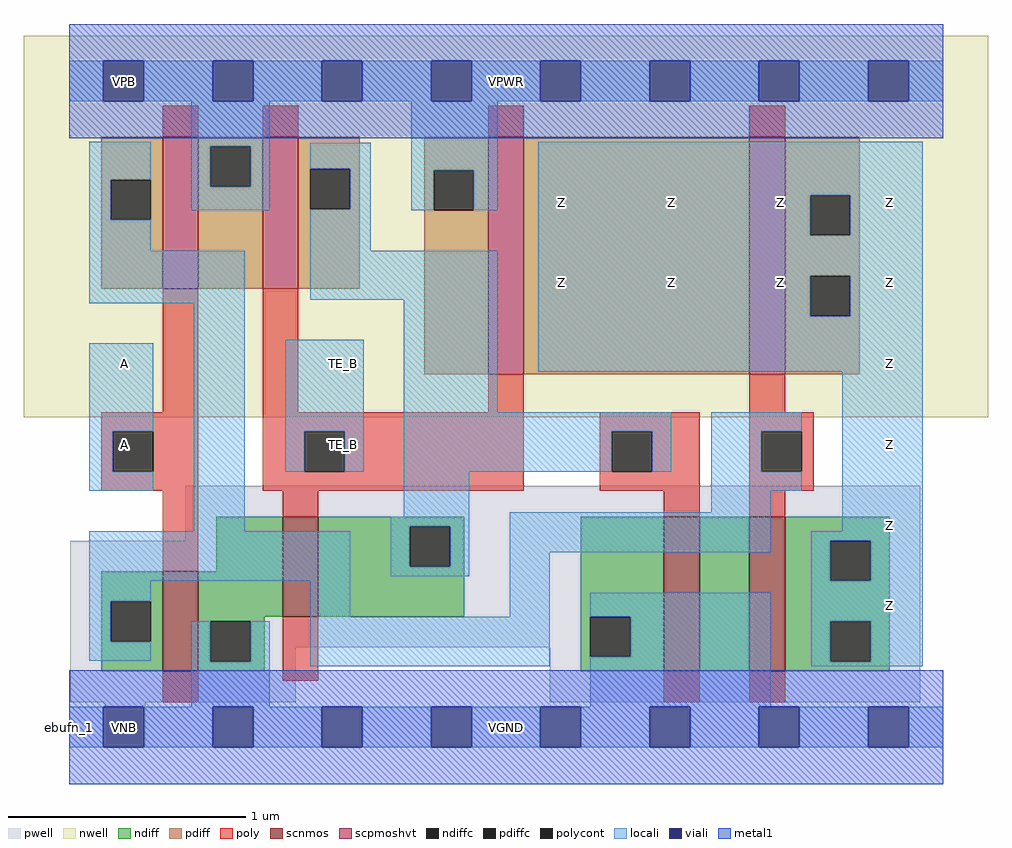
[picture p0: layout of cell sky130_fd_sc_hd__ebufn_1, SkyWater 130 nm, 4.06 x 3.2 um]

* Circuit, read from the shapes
.subckt sky130_fd_sc_hd__ebufn_1 A TE_B VGND VNB VPB VPWR Z
XM1 VGND A n1 VNB sky130_fd_pr__nfet_01v8 w=0.42 l=0.15
XM2 n2 TE_B VGND VNB sky130_fd_pr__nfet_01v8 w=0.42 l=0.15
XM3 n3 n2 VGND VNB sky130_fd_pr__nfet_01v8 w=0.65 l=0.15
XM4 Z n1 n3 VNB sky130_fd_pr__nfet_01v8 w=0.65 l=0.15
XM5 VPWR A n1 VPB sky130_fd_pr__pfet_01v8_hvt w=0.64 l=0.15
XM6 n2 TE_B VPWR VPB sky130_fd_pr__pfet_01v8_hvt w=0.64 l=0.15
XM7 n4 TE_B VPWR VPB sky130_fd_pr__pfet_01v8_hvt w=1 l=0.15
XM8 Z n1 n4 VPB sky130_fd_pr__pfet_01v8_hvt w=1 l=0.15
.ends

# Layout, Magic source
magic
tech sky130A
magscale 1 2
<< nwell >>
rect -38 261 774 582
<< pwell >>
rect 98 157 717 203
rect 1 67 717 157
rect 1 21 191 67
rect 405 21 717 67
rect 30 -17 64 21
<< scnmos >>
rect 79 47 109 131
rect 180 93 210 177
rect 501 47 531 177
rect 573 47 603 177
<< scpmoshvt >>
rect 79 369 109 497
rect 163 369 193 497
rect 353 297 383 497
rect 573 297 603 497
<< ndiff >>
rect 124 131 180 177
rect 27 106 79 131
rect 27 72 35 106
rect 69 72 79 106
rect 27 47 79 72
rect 109 93 180 131
rect 210 169 333 177
rect 210 135 287 169
rect 321 135 333 169
rect 210 93 333 135
rect 431 93 501 177
rect 109 89 165 93
rect 109 55 119 89
rect 153 55 165 89
rect 109 47 165 55
rect 431 59 439 93
rect 473 59 501 93
rect 431 47 501 59
rect 531 47 573 177
rect 603 157 691 177
rect 603 123 641 157
rect 675 123 691 157
rect 603 89 691 123
rect 603 55 641 89
rect 675 55 691 89
rect 603 47 691 55
<< pdiff >>
rect 27 461 79 497
rect 27 427 35 461
rect 69 427 79 461
rect 27 369 79 427
rect 109 489 163 497
rect 109 455 119 489
rect 153 455 163 489
rect 109 369 163 455
rect 193 470 245 497
rect 193 436 203 470
rect 237 436 245 470
rect 193 369 245 436
rect 299 469 353 497
rect 299 435 307 469
rect 341 435 353 469
rect 299 297 353 435
rect 383 297 573 497
rect 603 448 666 497
rect 603 414 624 448
rect 658 414 666 448
rect 603 380 666 414
rect 603 346 624 380
rect 658 346 666 380
rect 603 297 666 346
<< ndiffc >>
rect 35 72 69 106
rect 287 135 321 169
rect 119 55 153 89
rect 439 59 473 93
rect 641 123 675 157
rect 641 55 675 89
<< pdiffc >>
rect 35 427 69 461
rect 119 455 153 489
rect 203 436 237 470
rect 307 435 341 469
rect 624 414 658 448
rect 624 346 658 380
<< poly >>
rect 79 497 109 523
rect 163 497 193 523
rect 353 497 383 523
rect 573 497 603 523
rect 79 265 109 369
rect 27 249 109 265
rect 27 215 37 249
rect 71 215 109 249
rect 27 199 109 215
rect 163 265 193 369
rect 353 265 383 297
rect 573 265 603 297
rect 163 249 383 265
rect 163 215 198 249
rect 232 215 383 249
rect 163 199 383 215
rect 447 249 531 265
rect 447 215 457 249
rect 491 215 531 249
rect 447 199 531 215
rect 79 131 109 199
rect 180 177 210 199
rect 501 177 531 199
rect 573 249 627 265
rect 573 215 583 249
rect 617 215 627 249
rect 573 199 627 215
rect 573 177 603 199
rect 79 21 109 47
rect 180 39 210 93
rect 501 21 531 47
rect 573 21 603 47
<< polycont >>
rect 37 215 71 249
rect 198 215 232 249
rect 457 215 491 249
rect 583 215 617 249
<< locali >>
rect 0 527 29 561
rect 63 527 121 561
rect 155 527 213 561
rect 247 527 305 561
rect 339 527 397 561
rect 431 527 489 561
rect 523 527 581 561
rect 615 527 673 561
rect 707 527 736 561
rect 17 461 69 493
rect 17 427 35 461
rect 103 489 169 527
rect 103 455 119 489
rect 153 455 169 489
rect 103 435 169 455
rect 203 470 254 492
rect 237 436 254 470
rect 17 401 69 427
rect 203 401 254 436
rect 288 469 361 527
rect 288 435 307 469
rect 341 435 361 469
rect 395 448 719 493
rect 395 414 624 448
rect 658 414 719 448
rect 17 357 148 401
rect 203 360 361 401
rect 17 249 71 323
rect 17 215 37 249
rect 17 199 71 215
rect 105 165 148 357
rect 182 249 248 326
rect 182 215 198 249
rect 232 215 248 249
rect 282 265 361 360
rect 395 380 719 414
rect 395 346 624 380
rect 658 346 719 380
rect 395 299 719 346
rect 282 249 507 265
rect 282 215 457 249
rect 491 215 507 249
rect 541 249 617 265
rect 541 215 583 249
rect 282 177 337 215
rect 541 199 617 215
rect 541 181 591 199
rect 271 169 337 177
rect 17 123 237 165
rect 271 135 287 169
rect 321 135 337 169
rect 271 127 337 135
rect 371 147 591 181
rect 651 165 719 299
rect 625 157 719 165
rect 17 106 69 123
rect 17 72 35 106
rect 203 93 237 123
rect 371 93 405 147
rect 625 123 641 157
rect 675 123 719 157
rect 17 56 69 72
rect 103 55 119 89
rect 153 55 169 89
rect 103 17 169 55
rect 203 51 405 93
rect 439 93 591 113
rect 473 59 591 93
rect 439 17 591 59
rect 625 89 719 123
rect 625 55 641 89
rect 675 55 719 89
rect 625 51 719 55
rect 0 -17 29 17
rect 63 -17 121 17
rect 155 -17 213 17
rect 247 -17 305 17
rect 339 -17 397 17
rect 431 -17 489 17
rect 523 -17 581 17
rect 615 -17 673 17
rect 707 -17 736 17
<< viali >>
rect 29 527 63 561
rect 121 527 155 561
rect 213 527 247 561
rect 305 527 339 561
rect 397 527 431 561
rect 489 527 523 561
rect 581 527 615 561
rect 673 527 707 561
rect 29 -17 63 17
rect 121 -17 155 17
rect 213 -17 247 17
rect 305 -17 339 17
rect 397 -17 431 17
rect 489 -17 523 17
rect 581 -17 615 17
rect 673 -17 707 17
<< metal1 >>
rect 0 561 736 592
rect 0 527 29 561
rect 63 527 121 561
rect 155 527 213 561
rect 247 527 305 561
rect 339 527 397 561
rect 431 527 489 561
rect 523 527 581 561
rect 615 527 673 561
rect 707 527 736 561
rect 0 496 736 527
rect 0 17 736 48
rect 0 -17 29 17
rect 63 -17 121 17
rect 155 -17 213 17
rect 247 -17 305 17
rect 339 -17 397 17
rect 431 -17 489 17
rect 523 -17 581 17
rect 615 -17 673 17
rect 707 -17 736 17
rect 0 -48 736 -17
<< labels >>
rlabel comment s 0 0 0 0 4 ebufn_1
flabel locali s 582 357 616 391 0 FreeSans 200 0 0 0 Z
port 7 nsew signal output
flabel locali s 582 425 616 459 0 FreeSans 200 0 0 0 Z
port 7 nsew signal output
flabel locali s 674 425 708 459 0 FreeSans 200 0 0 0 Z
port 7 nsew signal output
flabel locali s 674 357 708 391 0 FreeSans 200 0 0 0 Z
port 7 nsew signal output
flabel locali s 674 289 708 323 0 FreeSans 200 0 0 0 Z
port 7 nsew signal output
flabel locali s 674 221 708 255 0 FreeSans 200 0 0 0 Z
port 7 nsew signal output
flabel locali s 214 221 248 255 0 FreeSans 200 0 0 0 TE_B
port 2 nsew signal input
flabel locali s 214 289 248 323 0 FreeSans 200 0 0 0 TE_B
port 2 nsew signal input
flabel locali s 30 289 64 323 0 FreeSans 200 0 0 0 A
port 1 nsew signal input
flabel locali s 30 221 64 255 0 FreeSans 200 0 0 0 A
port 1 nsew signal input
flabel locali s 490 357 524 391 0 FreeSans 200 0 0 0 Z
port 7 nsew signal output
flabel locali s 674 85 708 119 0 FreeSans 200 0 0 0 Z
port 7 nsew signal output
flabel locali s 674 153 708 187 0 FreeSans 200 0 0 0 Z
port 7 nsew signal output
flabel locali s 490 425 524 459 0 FreeSans 200 0 0 0 Z
port 7 nsew signal output
flabel locali s 398 425 432 459 0 FreeSans 200 0 0 0 Z
port 7 nsew signal output
flabel locali s 398 357 432 391 0 FreeSans 200 0 0 0 Z
port 7 nsew signal output
flabel pwell s 30 -17 64 17 0 FreeSans 200 0 0 0 VNB
port 4 nsew ground bidirectional
flabel nwell s 30 527 64 561 0 FreeSans 200 0 0 0 VPB
port 5 nsew power bidirectional
flabel metal1 s 30 527 64 561 0 FreeSans 200 0 0 0 VPWR
port 6 nsew power bidirectional abutment
flabel metal1 s 30 -17 64 17 0 FreeSans 200 0 0 0 VGND
port 3 nsew ground bidirectional abutment
rlabel metal1 s 0 -48 736 48 1 VGND
port 3 nsew ground bidirectional abutment
rlabel metal1 s 0 496 736 592 1 VPWR
port 6 nsew power bidirectional abutment
<< properties >>
string FIXED_BBOX 0 0 736 544
string GDS_END 2924272
string GDS_FILE $PDKPATH/libs.ref/sky130_fd_sc_hd/gds/sky130_fd_sc_hd.gds
string GDS_START 2917454
string LEFclass CORE
string LEFsite unithd
string LEFsymmetry X Y R90
string path 0.000 13.600 18.400 13.600 
<< end >>
